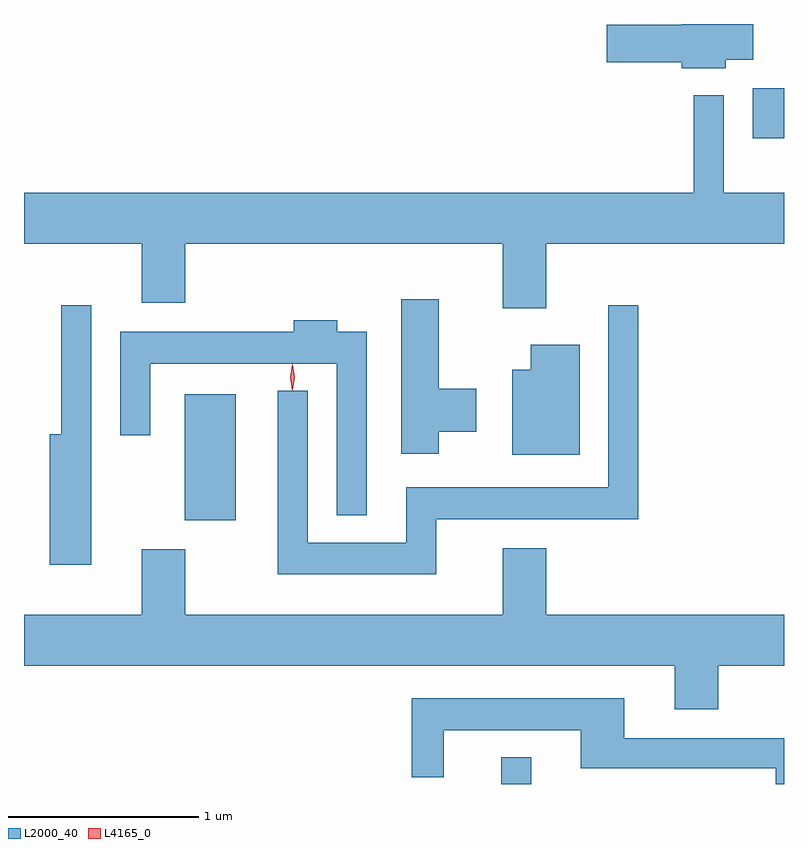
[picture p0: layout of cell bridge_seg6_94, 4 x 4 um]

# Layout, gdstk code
import gdstk
lib = gdstk.Library(unit=1e-6, precision=1e-09)
def R(c, l, rs):  # rectangles x0, y0, x1, y1
    for r in rs: c.add(gdstk.rectangle(r[:2], r[2:], *l))
def P(c, l, *ps):  # polygons
    for p in ps: c.add(gdstk.Polygon(p, *l))
L2000_40 = (2000, 40)
L4165_0 = (4165, 0)

bridge_seg6_94 = lib.new_cell('bridge_seg6_94')
R(bridge_seg6_94, L2000_40, [(1057.201,1611.573,1057.359,1611.713), (1055.536,1612.961,1055.804,1613.624), (1058.526,1614.971,1058.69,1615.234)])
P(bridge_seg6_94, L2000_40, [(1058.384,1615.386),(1058.529,1615.386),(1058.529,1615.573),(1058.151,1615.573),(1058.151,1615.569),(1057.756,1615.569),(1057.756,1615.371),(1058.151,1615.371),(1058.151,1615.341),(1058.384,1615.341)],
  [(1057.439,1614.416),(1058.69,1614.416),(1058.69,1614.684),(1058.374,1614.684),(1058.374,1615.198),(1058.216,1615.198),(1058.216,1614.684),(1054.69,1614.684),(1054.69,1614.416),(1055.311,1614.416),(1055.311,1614.106),(1055.539,1614.106),(1055.539,1614.416),(1057.211,1614.416),(1057.211,1614.076),(1057.439,1614.076)],
  [(1056.874,1613.426),(1057.069,1613.426),(1057.069,1613.654),(1056.874,1613.654),(1056.874,1614.124),(1056.676,1614.124),(1056.676,1613.311),(1056.874,1613.311)],
  [(1056.859,1612.966),(1057.924,1612.966),(1057.924,1614.093),(1057.766,1614.093),(1057.766,1613.134),(1056.701,1613.134),(1056.701,1612.844),(1056.184,1612.844),(1056.184,1613.643),(1056.026,1613.643),(1056.026,1612.676),(1056.859,1612.676)],
  [(1055.044,1614.093),(1054.886,1614.093),(1054.886,1613.414),(1054.826,1613.414),(1054.826,1612.726),(1055.044,1612.726)],
  [(1056.494,1613.954),(1056.339,1613.954),(1056.339,1614.014),(1056.111,1614.014),(1056.111,1613.954),(1055.196,1613.954),(1055.196,1613.408),(1055.354,1613.408),(1055.354,1613.786),(1056.336,1613.786),(1056.336,1612.988),(1056.494,1612.988)],
  [(1057.614,1613.884),(1057.356,1613.884),(1057.356,1613.754),(1057.261,1613.754),(1057.261,1613.306),(1057.614,1613.306)],
  [(1058.344,1612.196),(1058.69,1612.196),(1058.69,1612.464),(1057.439,1612.464),(1057.439,1612.814),(1057.211,1612.814),(1057.211,1612.464),(1055.539,1612.464),(1055.539,1612.809),(1055.311,1612.809),(1055.311,1612.464),(1054.69,1612.464),(1054.69,1612.196),(1058.116,1612.196),(1058.116,1611.966),(1058.344,1611.966)],
  [(1058.69,1611.814),(1057.849,1611.814),(1057.849,1612.024),(1056.731,1612.024),(1056.731,1611.608),(1056.899,1611.608),(1056.899,1611.856),(1057.621,1611.856),(1057.621,1611.656),(1058.646,1611.656),(1058.646,1611.573),(1058.69,1611.573)])
P(bridge_seg6_94, L4165_0, [(1056.101,1613.644),(1056.092,1613.713),(1056.101,1613.782),(1056.102,1613.783),(1056.102,1613.782),(1056.112,1613.713),(1056.102,1613.644),(1056.102,1613.644)],
  [(1056.103,1613.647),(1056.094,1613.714),(1056.103,1613.78),(1056.104,1613.78),(1056.104,1613.78),(1056.114,1613.714),(1056.104,1613.647),(1056.104,1613.647)])

lib.write_gds('bridge_seg6_94.gds')
